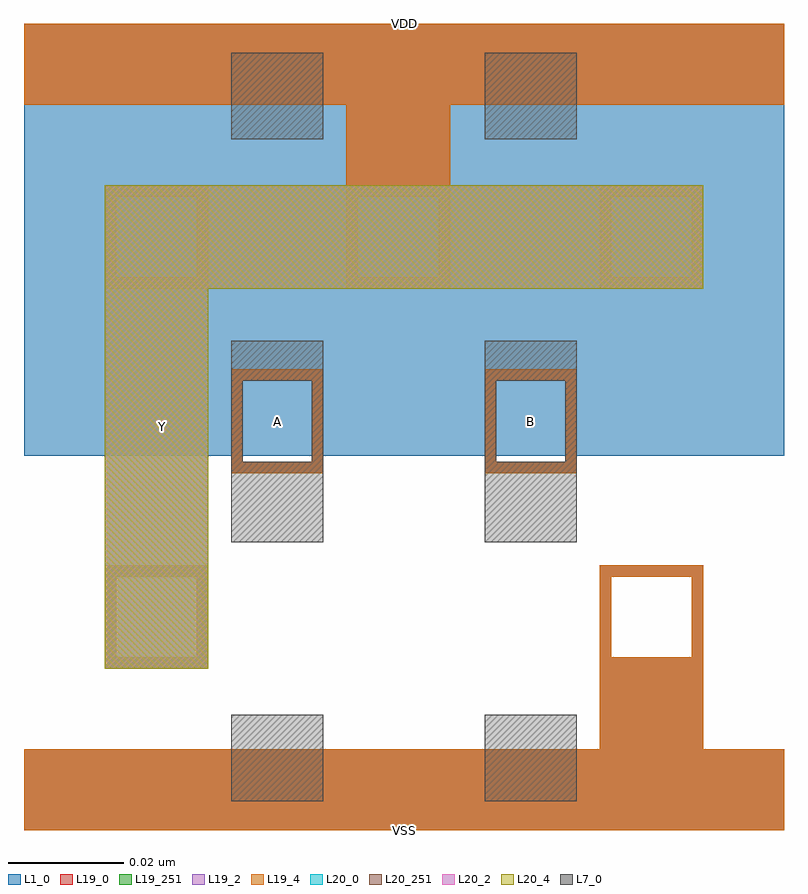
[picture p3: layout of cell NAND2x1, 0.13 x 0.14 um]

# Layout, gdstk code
import gdstk
lib = gdstk.Library(unit=1e-6, precision=1e-09)
def R(c, l, rs):  # rectangles x0, y0, x1, y1
    for r in rs: c.add(gdstk.rectangle(r[:2], r[2:], *l))
L1_0 = (1, 0)
L7_0 = (7, 0)
L19_0 = (19, 0)
L19_2 = (19, 2)
L19_4 = (19, 4)
L19_251 = (19, 251)
L20_0 = (20, 0)
L20_2 = (20, 2)
L20_4 = (20, 4)
L20_251 = (20, 251)

nand2x1 = lib.new_cell('NAND2x1')
R(nand2x1, L1_0, [(0,0.065,0.132,0.14)])
R(nand2x1, L7_0, [(0.036,0.005,0.052,0.02), (0.08,0.005,0.096,0.02), (0.036,0.05,0.052,0.064), (0.08,0.05,0.096,0.064), (0.036,0.064,0.038,0.078), (0.05,0.064,0.052,0.078), (0.08,0.064,0.082,0.078), (0.094,0.064,0.096,0.078), (0.036,0.078,0.052,0.085), (0.08,0.078,0.096,0.085), (0.036,0.12,0.052,0.135), (0.08,0.12,0.096,0.135)])
R(nand2x1, L19_0, [(0,0,0.132,0.014), (0.1,0.014,0.118,0.03), (0.014,0.028,0.032,0.03), (0.014,0.03,0.016,0.044), (0.03,0.03,0.032,0.044), (0.1,0.03,0.102,0.044), (0.116,0.03,0.118,0.044), (0.014,0.044,0.032,0.046), (0.1,0.044,0.118,0.046), (0.036,0.062,0.052,0.064), (0.08,0.062,0.096,0.064), (0.036,0.064,0.038,0.078), (0.05,0.064,0.052,0.078), (0.08,0.064,0.082,0.078), (0.094,0.064,0.096,0.078), (0.036,0.078,0.052,0.08), (0.08,0.078,0.096,0.08), (0.014,0.094,0.032,0.096), (0.056,0.094,0.074,0.096), (0.1,0.094,0.118,0.096), (0.014,0.096,0.016,0.11), (0.03,0.096,0.032,0.11), (0.056,0.096,0.058,0.11), (0.072,0.096,0.074,0.11), (0.1,0.096,0.102,0.11), (0.116,0.096,0.118,0.11), (0.014,0.11,0.032,0.112), (0.056,0.11,0.074,0.126), (0.1,0.11,0.118,0.112), (0,0.126,0.132,0.14)])
R(nand2x1, L19_2, [(0,0,0.132,0.014), (0.1,0.014,0.118,0.03), (0.014,0.028,0.032,0.03), (0.014,0.03,0.016,0.044), (0.03,0.03,0.032,0.044), (0.1,0.03,0.102,0.044), (0.116,0.03,0.118,0.044), (0.014,0.044,0.032,0.046), (0.1,0.044,0.118,0.046), (0.036,0.062,0.052,0.064), (0.08,0.062,0.096,0.064), (0.036,0.064,0.038,0.078), (0.05,0.064,0.052,0.078), (0.08,0.064,0.082,0.078), (0.094,0.064,0.096,0.078), (0.036,0.078,0.052,0.08), (0.08,0.078,0.096,0.08), (0.014,0.094,0.032,0.096), (0.056,0.094,0.074,0.096), (0.1,0.094,0.118,0.096), (0.014,0.096,0.016,0.11), (0.03,0.096,0.032,0.11), (0.056,0.096,0.058,0.11), (0.072,0.096,0.074,0.11), (0.1,0.096,0.102,0.11), (0.116,0.096,0.118,0.11), (0.014,0.11,0.032,0.112), (0.056,0.11,0.074,0.126), (0.1,0.11,0.118,0.112), (0,0.126,0.132,0.14)])
R(nand2x1, L19_4, [(0,0,0.132,0.014), (0.1,0.014,0.118,0.03), (0.014,0.028,0.032,0.03), (0.014,0.03,0.016,0.044), (0.03,0.03,0.032,0.044), (0.1,0.03,0.102,0.044), (0.116,0.03,0.118,0.044), (0.014,0.044,0.032,0.046), (0.1,0.044,0.118,0.046), (0.036,0.062,0.052,0.064), (0.08,0.062,0.096,0.064), (0.036,0.064,0.038,0.078), (0.05,0.064,0.052,0.078), (0.08,0.064,0.082,0.078), (0.094,0.064,0.096,0.078), (0.036,0.078,0.052,0.08), (0.08,0.078,0.096,0.08), (0.014,0.094,0.032,0.096), (0.056,0.094,0.074,0.096), (0.1,0.094,0.118,0.096), (0.014,0.096,0.016,0.11), (0.03,0.096,0.032,0.11), (0.056,0.096,0.058,0.11), (0.072,0.096,0.074,0.11), (0.1,0.096,0.102,0.11), (0.116,0.096,0.118,0.11), (0.014,0.11,0.032,0.112), (0.056,0.11,0.074,0.126), (0.1,0.11,0.118,0.112), (0,0.126,0.132,0.14)])
R(nand2x1, L19_251, [(0,0,0.132,0.014), (0.1,0.014,0.118,0.03), (0.014,0.028,0.032,0.03), (0.014,0.03,0.016,0.044), (0.03,0.03,0.032,0.044), (0.1,0.03,0.102,0.044), (0.116,0.03,0.118,0.044), (0.014,0.044,0.032,0.046), (0.1,0.044,0.118,0.046), (0.036,0.062,0.052,0.064), (0.08,0.062,0.096,0.064), (0.036,0.064,0.038,0.078), (0.05,0.064,0.052,0.078), (0.08,0.064,0.082,0.078), (0.094,0.064,0.096,0.078), (0.036,0.078,0.052,0.08), (0.08,0.078,0.096,0.08), (0.014,0.094,0.032,0.096), (0.056,0.094,0.074,0.096), (0.1,0.094,0.118,0.096), (0.014,0.096,0.016,0.11), (0.03,0.096,0.032,0.11), (0.056,0.096,0.058,0.11), (0.072,0.096,0.074,0.11), (0.1,0.096,0.102,0.11), (0.116,0.096,0.118,0.11), (0.014,0.11,0.032,0.112), (0.056,0.11,0.074,0.126), (0.1,0.11,0.118,0.112), (0,0.126,0.132,0.14)])
R(nand2x1, L20_0, [(0.014,0.028,0.032,0.094), (0.014,0.094,0.118,0.112)])
R(nand2x1, L20_2, [(0.014,0.028,0.032,0.094), (0.014,0.094,0.118,0.112)])
R(nand2x1, L20_4, [(0.014,0.028,0.032,0.094), (0.014,0.094,0.118,0.112)])
R(nand2x1, L20_251, [(0.014,0.028,0.032,0.094), (0.014,0.094,0.118,0.112)])
nand2x1.add(gdstk.Label('A', (0.044,0.071), layer=19, texttype=0))
nand2x1.add(gdstk.Label('B', (0.088,0.071), layer=19, texttype=0))
nand2x1.add(gdstk.Label('Y', (0.024,0.07), layer=20, texttype=0))
nand2x1.add(gdstk.Label('VDD', (0.066,0.14), layer=19, texttype=0))
nand2x1.add(gdstk.Label('VSS', (0.066,0), layer=19, texttype=0))

lib.write_gds('NAND2x1.gds')
